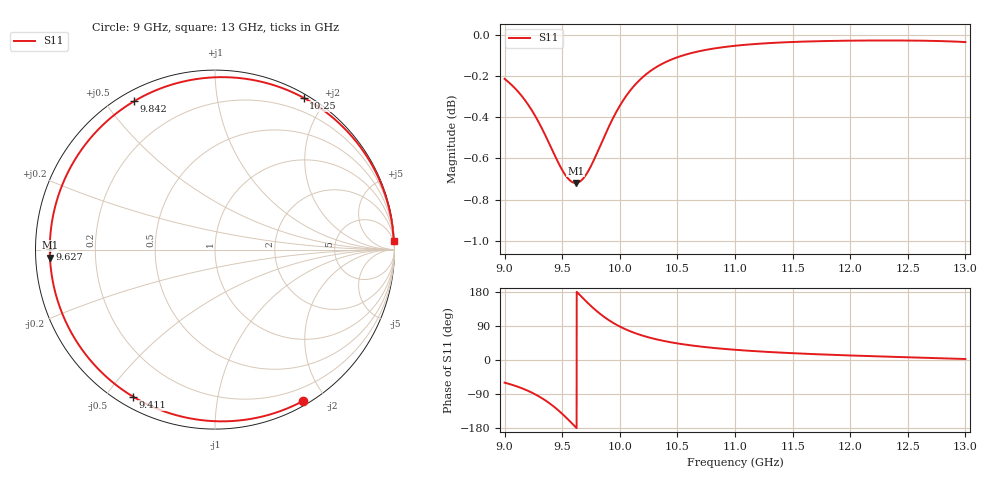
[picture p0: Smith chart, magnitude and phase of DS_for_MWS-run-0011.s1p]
! TOUCHSTONE file generated by CST DESIGN STUDIO
! Date and time: Tue Feb  4 12:47:00 2025
! Project name: C:\Work\MatlabApps\UnitCellOptimizationMatlab\CST\unitcell.cst
! Tree item: Tasks\Sweep1\SPara1\S-Parameters
! Header version: 2024
! Port assignment regex: !\s*Touchstone port\s*([0-9]+)\s*=\s*(CST MWS port|CST DES external port|CST DES block port)\s*(.+)\s* \(\"(.*)\"\)(\s*mode\s*([0-9]+))?.*
! Touchstone port assignment:
! Touchstone port 1 = CST DES external port 1 ("")
# GHz S MA R 50
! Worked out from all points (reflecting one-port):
!   4001 points, 9 GHz to 13 GHz, reference 50 ohm
!   lowest |S11| = -0.7 dB at 9.617 GHz (marker M1), VSWR 24.16, Z = 2.07 - j1.2 ohm
!   phase of S11 starts at -60 deg and turns -298 deg over the sweep
!   S11 on the Smith chart (normalised r, x): 9 GHz: 0.05, -1.74; 9.411 GHz: 0.04, -0.59; 9.627 GHz: 0.04, +0.00; 9.842 GHz: 0.04, +0.59; 10.25 GHz: 0.04, +1.74; 13 GHz: 4, +44
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9  0.9758 -59.8
9.057  0.9727 -64.8
9.13  0.9679 -72.3
9.194  0.9627 -80.1
9.256  0.9567 -89.1
9.339  0.9472 -103.6
9.411  0.938 -119.1
9.456  0.9323 -130.2
9.5  0.9272 -142.0
9.562  0.9221 -160.2
9.617  0.9205 -177.2
9.627  0.9206 179.6
9.671  0.9221 165.9
9.718  0.9259 151.7
9.78  0.9331 134.2
9.842  0.9415 118.7
9.915  0.9513 103.1
10  0.9612 88.3
10.119  0.9716 72.4
10.25  0.9793 59.7
10.366  0.984 51.3
10.5  0.9876 43.8
10.72  0.9914 34.8
11  0.994 27.0
11.5  0.9961 18.0
12  0.9969 12.0
12.5  0.9969 7.2
13  0.9961 2.6
